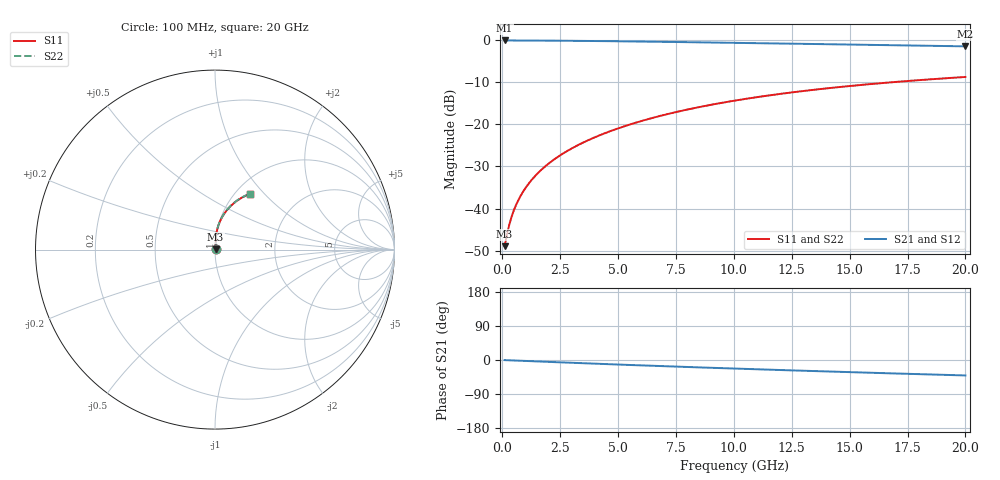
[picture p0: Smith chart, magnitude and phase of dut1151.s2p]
! Touchstone file exported from HFSS 2024.1.0
!  File:  C:/UserFiles/LocalFiles/RDL_TSV_Batchsim/temp_RDL_bottom_1151_1780056043.aedt
!  Generated:  08:03:28 PM May 29, 2026
!  Design:  RDL_bottom
!  Project:  temp_RDL_bottom_1151_1780056043
!  Setup:  Setup1
!  Solution:  Sweep
! Variables:
!  dtsv = 10.80580581um
!  hbump = 3um
!  htsv = 94.55um
!  ldown = 548.47um
!  lrdl = 100um
!  p = 40
!  p1 = 57.47um
!  rhole = 1um
!  t = 450um
!  tdown = 2.73um
!  trdl = 3.915915916um
!  wdown = 25.91um
!  wrdl = 20um
# GHz S MA R 50.000000
! Terminal data exported
! Port[1] = RDL1_T1
! Port[2] = RDL1_T2
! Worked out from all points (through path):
!   200 points, 100 MHz to 20 GHz, reference 50 ohm
!   highest |S21| = -0.03 dB at 100 MHz (marker M1); lowest = -1.4 dB at 20 GHz (marker M2)
!   group delay of S21, straight-line fit = 5.61 ps
!   lowest |S11| = -49.0 dB at 100 MHz (marker M3), VSWR 1.01, Z = 50.3 + j0.189 ohm
!   |S11| at or under -10 dB: start of sweep to 16.75 GHz
!   |S22| runs from -49.0 to -8.7 dB; largest |S21 - S12| = 3.2e-15
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0.1  0.003565 31.9  0.997 -0.3  0.997 -0.3  0.003565 31.9
! Gamma 0 0 0 0
! Port Impedance 50 0 50 0
0.2  0.004869 49.7  0.9968 -0.5  0.9968 -0.5  0.004869 49.7
0.3  0.00639 58.9  0.9966 -0.8  0.9966 -0.8  0.00639 58.9
0.4  0.007957 64.4  0.9964 -1.0  0.9964 -1.0  0.007957 64.4
0.5  0.009531 68.1  0.9962 -1.3  0.9962 -1.3  0.009531 68.1
0.6  0.01111 70.8  0.996 -1.5  0.996 -1.5  0.01111 70.8
0.8  0.01428 74.7  0.9956 -2.0  0.9956 -2.0  0.01428 74.7
1.1  0.01913 78.3  0.9949 -2.8  0.9949 -2.8  0.01913 78.4
1.3  0.02241 80.0  0.9944 -3.2  0.9944 -3.2  0.02241 80.0
1.6  0.02741 81.7  0.9935 -4.0  0.9935 -4.0  0.02741 81.8
2.1  0.03593 83.6  0.9917 -5.2  0.9917 -5.2  0.03594 83.6
2.7  0.04646 84.8  0.9891 -6.6  0.9891 -6.6  0.04647 84.8
3.5  0.06102 85.4  0.9848 -8.5  0.9848 -8.5  0.06104 85.5
4.2  0.07421 85.4  0.9805 -10.2  0.9805 -10.2  0.07424 85.5
5  0.08974 84.9  0.975 -12.0  0.975 -12.0  0.08979 85.0
6.8  0.1259 82.8  0.9612 -16.0  0.9612 -16.0  0.126 82.9
8.4  0.1587 80.1  0.948 -19.3  0.948 -19.3  0.1589 80.2
10.1  0.1932 76.9  0.9336 -22.7  0.9336 -22.7  0.1935 77.0
11.7  0.2249 73.7  0.9199 -25.9  0.9199 -25.9  0.2252 73.8
13.4  0.2573 70.3  0.9052 -29.1  0.9052 -29.1  0.2576 70.4
16.7  0.3154 63.9  0.8767 -35.1  0.8767 -35.1  0.3159 64.0
20  0.3667 57.8  0.8485 -40.8  0.8485 -40.8  0.3674 57.9
